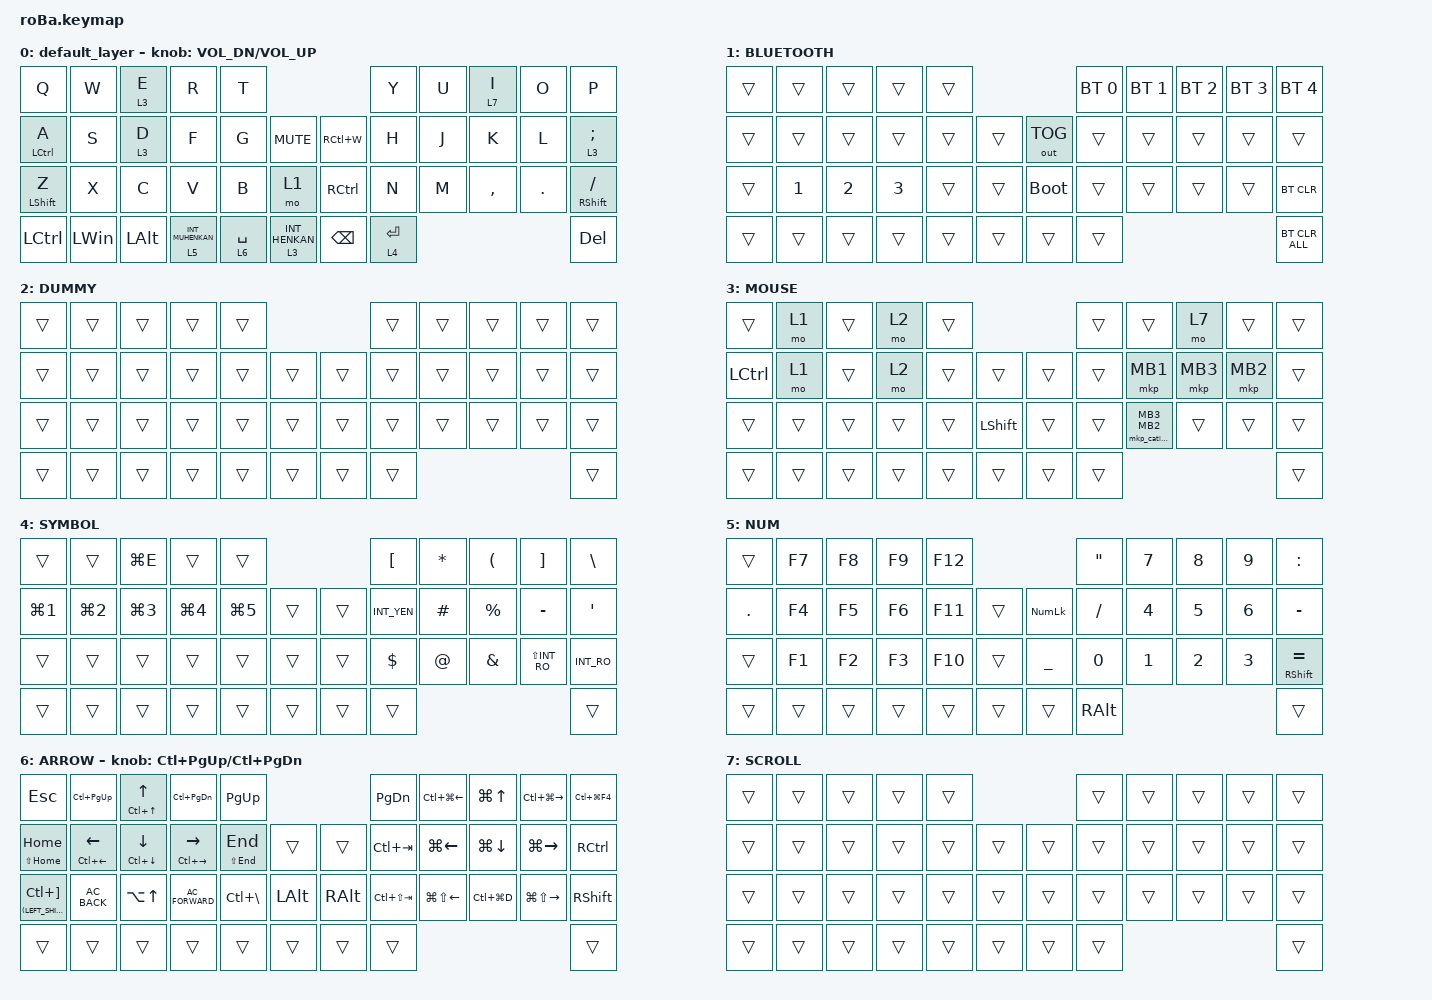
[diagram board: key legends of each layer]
#include <behaviors.dtsi>
#include <dt-bindings/zmk/bt.h>
#include <dt-bindings/zmk/keys.h>
#include <dt-bindings/zmk/outputs.h>
#include <dt-bindings/zmk/pointing.h>

&mt {
    flavor = "balanced";
    quick-tap-ms = <200>;
};

&lt { quick-tap-ms = <200>; };

&trackball {
    // automouse-layer = <4>;
    scroll-layers = <7>;

    // arrows {
    //     layers = <3>;
    //     bindings =
    //         <&kp RIGHT_ARROW>,
    //         <&kp LEFT_ARROW>,
    //         <&kp UP_ARROW>,
    //         <&kp DOWN_ARROW>;
    //     tick = <10>;
    //     wait-ms = <5>;
    //     tap-ms = <5>;
    // };
};

/ {
    combos {
        compatible = "zmk,combos";

        tab {
            bindings = <&kp TAB>;
            key-positions = <11 12>;
        };

        shift_tab {
            bindings = <&kp LS(TAB)>;
            key-positions = <12 13>;
        };

        hankaku_zenkaku {
            bindings = <&kp GRAVE>;
            key-positions = <0 1>;
        };

        exclamation {
            bindings = <&kp EXCLAMATION>;
            key-positions = <32 33>;
        };

        and {
            bindings = <&kp CARET>;
            key-positions = <1 2>;
        };

        or {
            bindings = <&kp LS(INT_YEN)>;
            key-positions = <2 3>;
        };

        capslock {
            bindings = <&kp LS(CAPSLOCK)>;
            key-positions = <10 22 34>;
        };

        insert {
            bindings = <&kp INSERT>;
            key-positions = <5 6>;
        };

        minus {
            bindings = <&kp MINUS>;
            key-positions = <19 20>;
            layers = <0 1 2 4 5 6 7>;
        };

        underscore {
            bindings = <&kp LS(INT_RO)>;
            key-positions = <31 32>;
        };

        tilde {
            bindings = <&kp PLUS>;
            key-positions = <18 19>;
            layers = <0 1 2 4 5 6 7>;
        };

        catia_rotation {
            bindings = <&mkp_catia_rotation MB3 MB2>;
            key-positions = <19 20>;
            layers = <3>;
        };

        equal {
            bindings = <&kp UNDERSCORE>;
            key-positions = <30 31>;
        };

        to_mouse_layer {
            bindings = <&to 3>;
            key-positions = <18 19 20>;
        };

        return_default_layer {
            bindings = <&to 0>;
            key-positions = <11 12 13>;
        };

        new_tab {
            bindings = <&kp LC(T)>;
            key-positions = <4 14>;
        };
    };

    macros {
        to_layer_0: to_layer_0 {
            compatible = "zmk,behavior-macro-one-param";
            #binding-cells = <1>;
            bindings = <&to 0 &macro_param_1to1 &kp MACRO_PLACEHOLDER>;
            label = "TO_LAYER_0";
        };

        mkp_catia_scaling: mkp_catia_scaling {
            compatible = "zmk,behavior-macro-two-param";
            tap-ms = <0>;
            #binding-cells = <2>;
            bindings =
                <&macro_param_1to1>,
                <&macro_press>,
                <&mkp MACRO_PLACEHOLDER &macro_param_2to1>,
                <&macro_tap>,
                <&mkp MACRO_PLACEHOLDER>,
                <&macro_pause_for_release>,
                <&macro_param_1to1>,
                <&macro_release>,
                <&mkp MACRO_PLACEHOLDER>;
        };

        mkp_catia_rotation: mkp_catia_rotation {
            compatible = "zmk,behavior-macro-two-param";
            #binding-cells = <2>;
            bindings =
                <&macro_param_1to1>,
                <&macro_press>,
                <&mkp MACRO_PLACEHOLDER &macro_param_2to1>,
                <&macro_press>,
                <&mkp MACRO_PLACEHOLDER>,
                <&macro_pause_for_release>,
                <&macro_param_1to1>,
                <&macro_release>,
                <&mkp MACRO_PLACEHOLDER &macro_param_2to1>,
                <&macro_release>,
                <&mkp MACRO_PLACEHOLDER>;
        };
    };

    behaviors {
        lt_to_layer_0: lt_to_layer_0 {
            compatible = "zmk,behavior-hold-tap";
            label = "LAYER_TAP_TO_0";
            bindings = <&mo>, <&to_layer_0>;

            #binding-cells = <2>;
            tapping-term-ms = <200>;
        };

        tog_on: toggle_layer_on_only {
            compatible = "zmk,behavior-toggle-layer";
            #binding-cells = <1>;
            display-name = "Toggle Layer On";
            toggle-mode = "on";
        };
    };

    keymap {
        compatible = "zmk,keymap";

        default_layer {
            bindings = <
&kp Q             &kp W         &lt 3 E       &kp R               &kp T                                             &kp Y        &kp U  &lt 7 I    &kp O    &kp P
&mt LCTRL A       &kp S         &lt 3 D       &kp F               &kp G        &kp C_MUTE            &kp RC(W)      &kp H        &kp J  &kp K      &kp L    &lt 3 SEMICOLON
&mt LEFT_SHIFT Z  &kp X         &kp C         &kp V               &kp B        &mo 1                 &kp RCTRL      &kp N        &kp M  &kp COMMA  &kp DOT  &mt RIGHT_SHIFT SLASH
&kp LCTRL         &kp LEFT_WIN  &kp LEFT_ALT  &lt 5 INT_MUHENKAN  &lt 6 SPACE  &lt 3 INT_HENKAN      &kp BACKSPACE  &lt 4 ENTER                             &kp DEL
            >;

            sensor-bindings = <&inc_dec_kp C_VOL_DN C_VOL_UP>;
        };

        BLUETOOTH {
            bindings = <
&trans  &trans        &trans        &trans        &trans                            &bt BT_SEL 0  &bt BT_SEL 1  &bt BT_SEL 2  &bt BT_SEL 3  &bt BT_SEL 4
&trans  &trans        &trans        &trans        &trans  &trans      &out OUT_TOG  &trans        &trans        &trans        &trans        &trans
&trans  &kp NUMBER_1  &kp NUMBER_2  &kp NUMBER_3  &trans  &trans      &bootloader   &trans        &trans        &trans        &trans        &bt BT_CLR
&trans  &trans        &trans        &trans        &trans  &trans      &trans        &trans                                                  &bt BT_CLR_ALL
            >;
        };

        DUMMY {
            bindings = <
&trans  &trans  &trans  &trans  &trans                      &trans  &trans  &trans  &trans  &trans
&trans  &trans  &trans  &trans  &trans  &trans      &trans  &trans  &trans  &trans  &trans  &trans
&trans  &trans  &trans  &trans  &trans  &trans      &trans  &trans  &trans  &trans  &trans  &trans
&trans  &trans  &trans  &trans  &trans  &trans      &trans  &trans                          &trans
            >;
        };

        MOUSE {
            bindings = <
&trans     &mo 1   &trans  &mo 2   &trans                              &trans  &trans                      &mo 7     &trans    &trans
&kp LCTRL  &mo 1   &trans  &mo 2   &trans  &trans              &trans  &trans  &mkp MB1                    &mkp MB3  &mkp MB2  &trans
&trans     &trans  &trans  &trans  &trans  &kp LEFT_SHIFT      &trans  &trans  &mkp_catia_scaling MB3 MB2  &trans    &trans    &trans
&trans     &trans  &trans  &trans  &trans  &trans              &trans  &trans                                                  &trans
            >;
        };

        SYMBOL {
            bindings = <
&trans            &trans            &kp LG(E)         &trans            &trans                                &kp LEFT_BRACKET  &kp ASTERISK  &kp LEFT_PARENTHESIS  &kp RIGHT_BRACKET  &kp BACKSLASH
&kp LG(NUMBER_1)  &kp LG(NUMBER_2)  &kp LG(NUMBER_3)  &kp LG(NUMBER_4)  &kp LG(NUMBER_5)  &trans      &trans  &kp INT_YEN       &kp HASH      &kp PERCENT           &kp MINUS          &kp SINGLE_QUOTE
&trans            &trans            &trans            &trans            &trans            &trans      &trans  &kp DOLLAR        &kp AT_SIGN   &kp AMPERSAND         &kp LS(INT_RO)     &kp INT_RO
&trans            &trans            &trans            &trans            &trans            &trans      &trans  &trans                                                                   &trans
            >;
        };

        NUM {
            bindings = <
&trans   &kp F7  &kp F8  &kp F9  &kp F12                              &kp DOUBLE_QUOTES  &kp NUMBER_7  &kp NUMBER_8  &kp NUMBER_9  &kp COLON
&kp DOT  &kp F4  &kp F5  &kp F6  &kp F11  &trans      &kp KP_NUMLOCK  &kp SLASH          &kp NUMBER_4  &kp NUMBER_5  &kp NUMBER_6  &kp MINUS
&trans   &kp F1  &kp F2  &kp F3  &kp F10  &trans      &kp UNDERSCORE  &kp NUMBER_0       &kp NUMBER_1  &kp NUMBER_2  &kp NUMBER_3  &mt RIGHT_SHIFT EQUAL
&trans   &trans  &trans  &trans  &trans   &trans      &trans          &kp RIGHT_ALT                                                &trans
            >;
        };

        ARROW {
            bindings = <
&kp ESCAPE                          &kp LC(PAGE_UP)                &mt LC(UP_ARROW) UP_ARROW      &kp LC(PAGE_DOWN)                &kp PAGE_UP                                         &kp PAGE_DOWN    &kp LC(LG(LEFT_ARROW))  &kp LG(UP_ARROW)    &kp LC(LG(RIGHT_ARROW))  &kp LC(LG(F4))
&mt LS(HOME) HOME                   &mt LC(LEFT_ARROW) LEFT_ARROW  &mt LC(DOWN_ARROW) DOWN_ARROW  &mt LC(RIGHT_ARROW) RIGHT_ARROW  &mt LS(END) END    &trans            &trans         &kp LC(TAB)      &kp LG(LEFT_ARROW)      &kp LG(DOWN_ARROW)  &kp LG(RIGHT_ARROW)      &kp RCTRL
&mt (LEFT_SHIFT) LC(RIGHT_BRACKET)  &kp C_AC_BACK                  &kp LA(UP_ARROW)               &kp C_AC_FORWARD                 &kp LC(BACKSLASH)  &kp LEFT_ALT      &kp RIGHT_ALT  &kp LC(LS(TAB))  &kp LG(LS(LEFT_ARROW))  &kp LC(LG(D))       &kp LG(LS(RIGHT_ARROW))  &kp RIGHT_SHIFT
&trans                              &trans                         &trans                         &trans                           &trans             &trans            &trans         &trans                                                                                &trans
            >;

            sensor-bindings = <&inc_dec_kp LC(PAGE_UP) LC(PAGE_DOWN)>;
        };

        SCROLL {
            bindings = <
&trans  &trans  &trans  &trans  &trans                      &trans  &trans  &trans  &trans  &trans
&trans  &trans  &trans  &trans  &trans  &trans      &trans  &trans  &trans  &trans  &trans  &trans
&trans  &trans  &trans  &trans  &trans  &trans      &trans  &trans  &trans  &trans  &trans  &trans
&trans  &trans  &trans  &trans  &trans  &trans      &trans  &trans                          &trans
            >;
        };
    };
};
